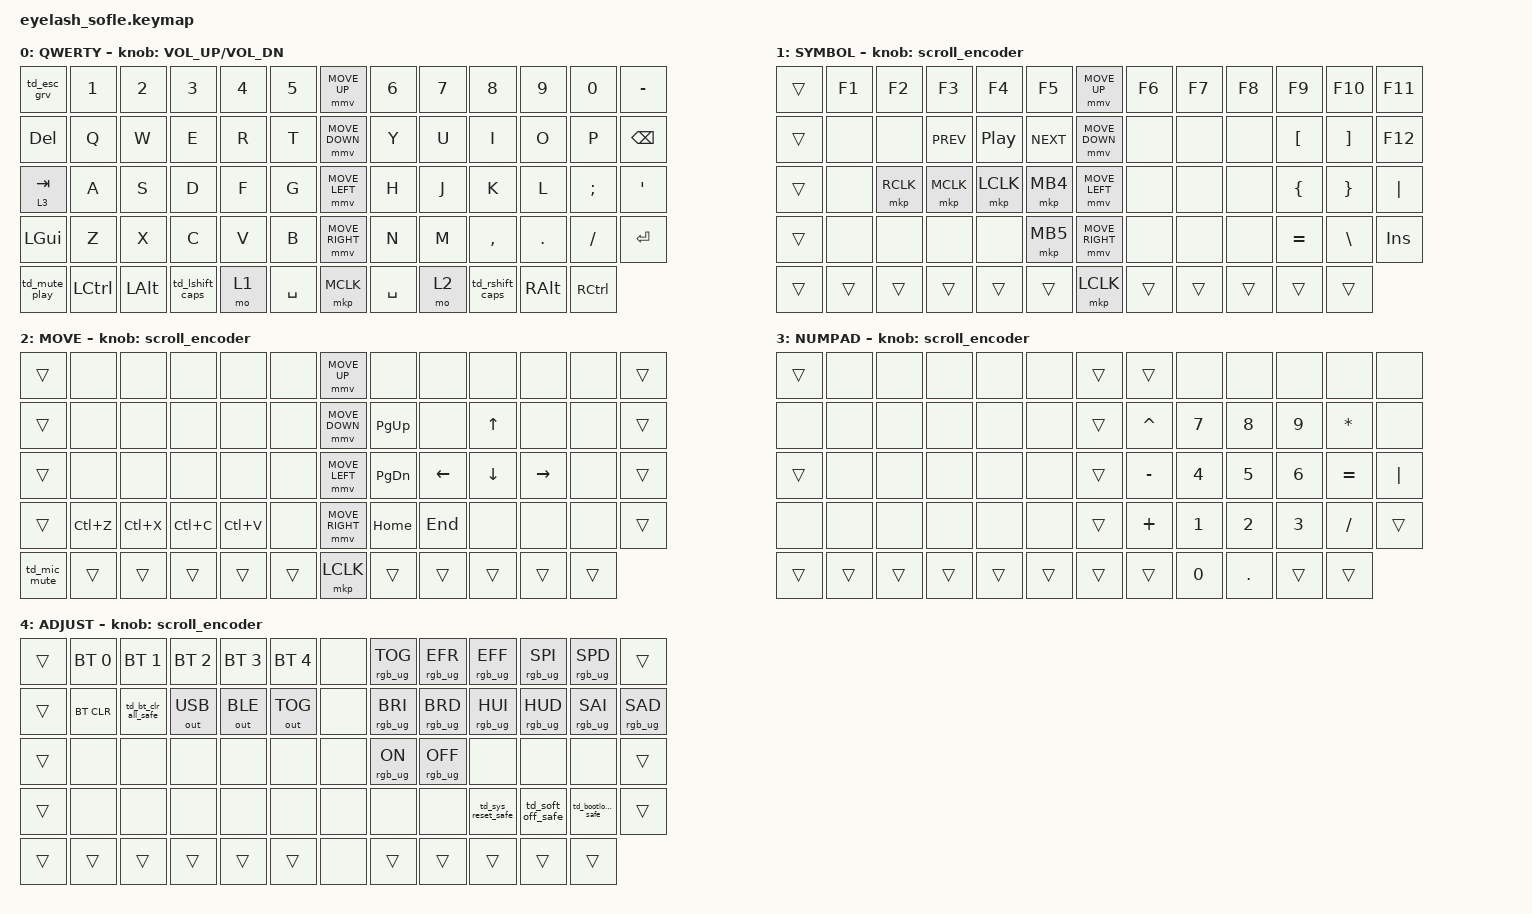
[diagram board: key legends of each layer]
/*
 * =============================================================================
 * ZMK KEYMAP — Ported from QMK Sofle Layout
 * =============================================================================
 *
 * This is a port of the QMK Sofle keymap (qmk.keymap.c) to ZMK for the
 * Eyelash Sofle board (with dongle support).
 *
 * KEY DIFFERENCES BETWEEN YOUR QMK SOFLE AND THIS EYELASH SOFLE:
 * ---------------------------------------------------------------
 * 1. LAYOUT SIZE:
 *    - QMK Sofle:     6L + 6R per row (rows 0-2), 7+7 row 3 (encoders), 5+5 row 4
 *    - Eyelash Sofle: 6L + 1 MIDDLE + 6R per row (rows 0-3), 6+1+5 row 4
 *    The "middle" column is a 5-way joystick/trackball on the right half PCB.
 *
 * 2. ENCODERS:
 *    - QMK: 2 encoders (left=MUTE click, right=HOME click)
 *    - Eyelash: 1 left encoder (click = row 4, col 0) + joystick in middle
 *
 * 3. SYNTAX:
 *    - QMK uses C macros:  KC_A, MO(1), LT(3, KC_TAB), TD(TD_ESC_GRV)
 *    - ZMK uses devicetree: &kp A, &mo 1, &lt 3 TAB, &td_esc_grv
 *
 * 4. TAP DANCE:
 *    - QMK: Defined with tap_dance_actions[] and ACTION_TAP_DANCE_DOUBLE()
 *    - ZMK: Defined as "zmk,behavior-tap-dance" nodes in the behaviors {} block
 *
 * 5. LAYER TAP:
 *    - QMK: LT(_NUMPAD, KC_TAB) — custom #define
 *    - ZMK: &lt 3 TAB — built-in behavior, no #define needed
 *
 * 6. RGB/BACKLIGHT:
 *    - QMK: UG_TOGG, LM_TOGG, etc.
 *    - ZMK: &rgb_ug RGB_TOG for underglow. Backlight not always available.
 *
 * LAYER MAP:
 *   Layer 0 = QWERTY (base)
 *   Layer 1 = SYMBOL (held via left thumb "mo 1")
 *   Layer 2 = MOVE   (held via right thumb "mo 2")
 *   Layer 3 = NUMPAD (held via TAB key "lt 3 TAB")
 *   Layer 4 = ADJUST (auto-enabled while SYMBOL + MOVE are both held)
 * =============================================================================
 */

/* ── Pointing device speed tuning ─────────────────────────────────────────────
 * These set how fast the trackball/joystick moves the mouse cursor and scrolls.
 * Increase values = faster. Decrease = more precise.
 * In QMK, you'd set these in config.h as POINTING_DEVICE_* defines.
 */
#define ZMK_POINTING_DEFAULT_MOVE_VAL 1200  // Default: 600. Mouse cursor speed.
#define ZMK_POINTING_DEFAULT_SCRL_VAL 35    // Default: 10. Scroll wheel speed.

/* ── Includes ─────────────────────────────────────────────────────────────────
 * QMK: #include QMK_KEYBOARD_H  (one include that pulls in everything)
 * ZMK: You include individual modules you need. Each header enables specific
 *       features (bluetooth, keys, RGB, etc.)
 */
#include <input/processors.dtsi>                          // Input processing (scaling mouse/scroll)
#include <zephyr/dt-bindings/input/input-event-codes.h>   // Low-level input event codes
#include <behaviors.dtsi>                                  // Core behaviors: &kp, &mo, &lt, &none, &trans, etc.
#include <dt-bindings/zmk/bt.h>                            // Bluetooth: &bt BT_SEL, BT_CLR, etc.
#include <dt-bindings/zmk/keys.h>                          // All keycodes: A-Z, N0-N9, F1-F12, modifiers, etc.
#include <dt-bindings/zmk/outputs.h>                       // Output selection: &out OUT_USB, OUT_BLE
#include <dt-bindings/zmk/pointing.h>                      // Pointing device: &mmv (mouse move), &mkp (mouse click), &msc (scroll)
#include <dt-bindings/zmk/rgb.h>                           // RGB underglow: &rgb_ug RGB_TOG, RGB_EFF, etc.

/* ═════════════════════════════════════════════════════════════════════════════
 * DEVICETREE HARDWARE CONFIGURATION
 * ═════════════════════════════════════════════════════════════════════════════
 * Everything below the "/" is a "devicetree" node. This is Zephyr (the RTOS
 * ZMK is built on) way of describing hardware. There's NO equivalent in QMK.
 * Think of it as a structured config.h + hardware description combined.
 */

/ {
    /* ── Scroll Scaler ────────────────────────────────────────────────────────
     * Scales the scroll wheel input. The "2 1" in the listener means 2x scale.
     * This makes scrolling faster/more responsive.
     */
    zip_scroll_scaler: zip_scroll_scaler {
        compatible = "zmk,input-processor-scaler";
        #input-processor-cells = <2>;
        type = <INPUT_EV_REL>;
        codes = <INPUT_REL_WHEEL INPUT_REL_HWHEEL>;
        track-remainders;
    };
};

/* ── Input Listener Overrides ─────────────────────────────────────────────────
 * These hook into the pointing device hardware and apply scaling.
 * &mmv_input_listener = mouse movement listener (trackball/joystick XY)
 * &msc_input_listener = scroll listener (scroll wheel events)
 */
&mmv_input_listener { input-processors = <&zip_xy_scaler 2 1>; };
&msc_input_listener { input-processors = <&zip_scroll_scaler 2 1>; };

/* ── Mouse Scroll Tuning ──────────────────────────────────────────────────────
 * acceleration-exponent = 0 means linear (no acceleration curve)
 * time-to-max-speed-ms = 0 means instant max speed
 * In QMK: MOUSEKEY_WHEEL_MAX_SPEED, MOUSEKEY_WHEEL_TIME_TO_MAX
 */
&msc {
    acceleration-exponent = <0>;
    time-to-max-speed-ms = <0>;
    delay-ms = <0>;
};

/* ── Mouse Move Tuning ────────────────────────────────────────────────────────
 * time-to-max-speed-ms = 400 means cursor ramps up to full speed over 400ms
 * acceleration-exponent = 1 means linear acceleration
 * In QMK: MOUSEKEY_MAX_SPEED, MOUSEKEY_TIME_TO_MAX
 */
&mmv {
    time-to-max-speed-ms = <400>;
    acceleration-exponent = <1>;
};

/* ── Hold-Tap / Layer-Tap Tuning ─────────────────────────────────────────────
 * Slightly tap-biased timing to reduce accidental NUMPAD layer activation
 * during fast typing on &lt 3 TAB.
 */
&lt {
    tapping-term-ms = <180>;
    quick-tap-ms = <140>;
    flavor = "tap-preferred";
};

/* ═════════════════════════════════════════════════════════════════════════════
 * BEHAVIORS, MACROS, AND KEYMAP
 * ═════════════════════════════════════════════════════════════════════════════
 */
/ {
    /* ── Scroll Encoder Behavior ──────────────────────────────────────────────
     * In QMK, encoder behavior is set in encoder_map[][] or encoder_update_user().
     * In ZMK, you define a "sensor-rotate" behavior and bind it per-layer.
     *
     * This one scrolls up/down when the encoder is rotated.
     * Layer 0 uses volume (inc_dec_kp), other layers use this scroll behavior.
     */
    scroll_encoder: scroll_encoder {
        compatible = "zmk,behavior-sensor-rotate";
        #sensor-binding-cells = <0>;
        bindings = <&msc SCRL_DOWN>, <&msc SCRL_UP>;
        tap-ms = <30>;
    };

    /* ── Macros ───────────────────────────────────────────────────────────────
     * ZMK macros use a press/release/pause model.
     * QMK equivalent: process_record_user() or MACRO() definitions.
     *
     * This macro holds Shift + Middle Mouse Button (for some apps like browsers).
     */
    macros {
        shift_MB3: shift_MB3 {
            compatible = "zmk,behavior-macro";
            #binding-cells = <0>;
            bindings =
                <&macro_press>,
                <&kp LEFT_SHIFT>,
                <&macro_press>,
                <&mkp MB3>,
                <&macro_pause_for_release>,   // Waits until the key is released
                <&macro_release>,
                <&mkp MB3 &kp LEFT_SHIFT>;
            label = "SHIFT_MB3";
        };
    };

    /* ══════════════════════════════════════════════════════════════════════════
     * TAP DANCE BEHAVIORS
     * ══════════════════════════════════════════════════════════════════════════
     * QMK: tap_dance_actions[] with ACTION_TAP_DANCE_DOUBLE()
     * ZMK: Individual "zmk,behavior-tap-dance" nodes.
     *
     * How tap-dance works:
     *   - Tap once  → first binding fires
     *   - Tap twice → second binding fires
     *   - tapping-term-ms = time window to register double-tap (like QMK's TAPPING_TERM)
     *
     * IMPORTANT: In ZMK, tap-dance behaviors are referenced by their node name
     * (e.g., &td_esc_grv), NOT by an enum index like QMK's TD(TD_ESC_GRV).
     */
    behaviors {
        /* Tap = ESC, Double-tap = ` (grave/backtick)
         * QMK equivalent: TD_ESC_GRV = ACTION_TAP_DANCE_DOUBLE(KC_ESC, KC_GRV)
         */
        td_esc_grv: td_esc_grv {
            compatible = "zmk,behavior-tap-dance";
            #binding-cells = <0>;
            tapping-term-ms = <200>;
            bindings = <&kp ESC>, <&kp GRAVE>;
        };

        /* Tap = Left Shift, Double-tap = Caps Lock
         * QMK equivalent: TD_LSHIFT_CAPS = ACTION_TAP_DANCE_DOUBLE(KC_LSFT, KC_CAPS)
         */
        td_lshift_caps: td_lshift_caps {
            compatible = "zmk,behavior-tap-dance";
            #binding-cells = <0>;
            tapping-term-ms = <200>;
            bindings = <&kp LSHFT>, <&kp CAPS>;
        };

        /* Tap = Right Shift, Double-tap = Caps Lock
         * QMK equivalent: TD_RSHIFT_CAPS = ACTION_TAP_DANCE_DOUBLE(KC_RSFT, KC_CAPS)
         */
        td_rshift_caps: td_rshift_caps {
            compatible = "zmk,behavior-tap-dance";
            #binding-cells = <0>;
            tapping-term-ms = <200>;
            bindings = <&kp RSHFT>, <&kp CAPS>;
        };

        /* Tap = Mute, Double-tap = Play/Pause
         * QMK equivalent: TD_MUTE_PLAY = ACTION_TAP_DANCE_DOUBLE(KC_MUTE, KC_MPLY)
         * Used on the encoder button press.
         */
        td_mute_play: td_mute_play {
            compatible = "zmk,behavior-tap-dance";
            #binding-cells = <0>;
            tapping-term-ms = <200>;
            bindings = <&kp C_MUTE>, <&kp C_PP>;
        };

        td_mic_mute: td_mic_mute {
            compatible = "zmk,behavior-tap-dance";
            #binding-cells = <0>;
            tapping-term-ms = <200>;
            bindings = <&kp LG(LA(K))>, <&kp LG(LA(K))>;
        };

        td_sys_reset_safe: td_sys_reset_safe {
            compatible = "zmk,behavior-tap-dance";
            #binding-cells = <0>;
            tapping-term-ms = <220>;
            bindings = <&none>, <&sys_reset>;
        };

        td_soft_off_safe: td_soft_off_safe {
            compatible = "zmk,behavior-tap-dance";
            #binding-cells = <0>;
            tapping-term-ms = <220>;
            bindings = <&none>, <&soft_off>;
        };

        td_bootloader_safe: td_bootloader_safe {
            compatible = "zmk,behavior-tap-dance";
            #binding-cells = <0>;
            tapping-term-ms = <220>;
            bindings = <&none>, <&bootloader>;
        };

        td_bt_clr_all_safe: td_bt_clr_all_safe {
            compatible = "zmk,behavior-tap-dance";
            #binding-cells = <0>;
            tapping-term-ms = <220>;
            bindings = <&none>, <&bt BT_CLR_ALL>;
        };
    };

    conditional_layers {
        compatible = "zmk,conditional-layers";

        adjust_layer {
            if-layers = <1 2>;
            then-layer = <4>;
        };
    };

    /* ══════════════════════════════════════════════════════════════════════════
     * KEYMAP
     * ══════════════════════════════════════════════════════════════════════════
     * QMK:  const uint16_t PROGMEM keymaps[][MATRIX_ROWS][MATRIX_COLS] = { ... };
     * ZMK:  keymap { compatible = "zmk,keymap"; layer_name { bindings = <...>; }; };
     *
     * PHYSICAL LAYOUT OF THE EYELASH SOFLE (per row):
     * ┌───────────── Left Half (6 keys) ──────────────┐ ┌Mid┐ ┌────────── Right Half (6 keys) ──────────┐
     * │ Col0 │ Col1 │ Col2 │ Col3 │ Col4 │ Col5 │     │Col7│  │ Col8 │ Col9 │Col10│Col11│Col12│Col13│
     *
     * Row 4 (thumb row) has 6 left + 1 middle + 5 right = 12 keys total.
     * The middle column (Col7) is the joystick/trackball 5-way switch.
     *
     * READING THE BINDINGS:
     *   &kp A        = "key press" behavior, sends 'A'
     *   &mo 1        = "momentary layer" — activates layer 1 while held
     *   &lt 3 TAB    = "layer-tap" — hold = layer 3, tap = TAB
     *   &td_esc_grv  = custom tap-dance (defined above)
     *   &trans       = transparent — falls through to lower layer (like QMK's _______)
     *   &none        = no action (like QMK's XXXXXXX)
     *   &rgb_ug CMD  = RGB underglow command
     *   &bt CMD      = Bluetooth command
     *   &mmv DIR     = mouse move direction
     *   &mkp BTN     = mouse button press
     */
    keymap {
        compatible = "zmk,keymap";

        /* ══════════════════════════════════════════════════════════════════════
         * LAYER 0 — QWERTY (Base Layer)
         * ══════════════════════════════════════════════════════════════════════
         *
         * ┌────────┬──────┬──────┬──────┬──────┬──────┐          ┌──────┬──────┬──────┬──────┬──────┬──────┐
         * │ESC/GRV │  1   │  2   │  3   │  4   │  5   │  [JOY↑] │  6   │  7   │  8   │  9   │  0   │  -   │
         * ├────────┼──────┼──────┼──────┼──────┼──────┤          ├──────┼──────┼──────┼──────┼──────┼──────┤
         * │  DEL   │  Q   │  W   │  E   │  R   │  T   │  [JOY↓] │  Y   │  U   │  I   │  O   │  P   │ BSPC │
         * ├────────┼──────┼──────┼──────┼──────┼──────┤          ├──────┼──────┼──────┼──────┼──────┼──────┤
         * │TAB/NUM │  A   │  S   │  D   │  F   │  G   │  [JOY←] │  H   │  J   │  K   │  L   │  ;   │  '   │
         * ├────────┼──────┼──────┼──────┼──────┼──────┤          ├──────┼──────┼──────┼──────┼──────┼──────┤
         * │ LGUI   │  Z   │  X   │  C   │  V   │  B   │  [JOY→] │  N   │  M   │  ,   │  .   │  /   │ENTER │
         * └────────┴──────┼──────┼──────┼──────┼──────┤          ├──────┼──────┼──────┼──────┼──────┘
         *  [MUTE/PLAY]    │ LCTL │ LALT │LSH/CP│SYMBOL│ SPACE    │HOME  │SPACE │ MOVE │RSH/CP│ RALT │ RCTL │
         *                 └──────┴──────┴──────┴──────┘          └──────┴──────┴──────┴──────┴──────┘
         *
         * QMK → ZMK key mapping for this layer:
         *   KC_ESC_GRV      → &td_esc_grv         (tap-dance: tap=ESC, 2x=`)
         *   KC_TAB_NUM      → &lt 3 TAB           (layer-tap: hold=NUMPAD, tap=TAB)
         *   KC_LSHIFT_CAPS  → &td_lshift_caps     (tap-dance: tap=LSHIFT, 2x=CAPS)
         *   KC_RSHIFT_CAPS  → &td_rshift_caps     (tap-dance: tap=RSHIFT, 2x=CAPS)
         *   KC_MUTE_PLAY    → &td_mute_play       (tap-dance: tap=MUTE, 2x=PLAY)
         *   KC_SYMBO/MO()   → &mo 1               (momentary layer 1)
         *   KC_MOVE/MO()    → &mo 2               (momentary layer 2)
         *   KC_MINS         → &kp MINUS            (ZMK uses full names, not KC_ prefix)
         *   KC_BSPC         → &kp BSPC             (backspace)
         *   KC_SCLN         → &kp SEMI             (semicolon)
         *   KC_QUOT         → &kp SQT              (single quote / apostrophe)
         *   KC_COMM         → &kp COMMA            (comma)
         *   KC_SLSH         → &kp FSLH             (forward slash)
         *
         * MIDDLE COLUMN: The joystick/trackball 5-way switch. On Layer 0 it is
         * mapped to mouse movement (&mmv) in all four directions, and center click
         * is mouse middle-click for browser-style pan/360 navigation.
         *
         * ENCODER: Rotate = Volume Up/Down. Click = MUTE (or double-click = PLAY).
         */
        layer_qwerty {
            display-name = "QWERTY";
            bindings = <
// ┌─ Left Half (6 keys) ─────────────────────────────────────────────────┐ ┌───Mid───┐ ┌─ Right Half (6 keys) ──────────────────────────────────────────────────┐
    &td_esc_grv    &kp N1     &kp N2    &kp N3           &kp N4  &kp N5      &mmv MOVE_UP      &kp N6     &kp N7  &kp N8           &kp N9    &kp N0     &kp MINUS
    &kp DEL        &kp Q      &kp W     &kp E            &kp R   &kp T       &mmv MOVE_DOWN    &kp Y      &kp U   &kp I            &kp O     &kp P      &kp BSPC
    &lt 3 TAB      &kp A      &kp S     &kp D            &kp F   &kp G       &mmv MOVE_LEFT    &kp H      &kp J   &kp K            &kp L     &kp SEMI   &kp SQT
    &kp LGUI       &kp Z      &kp X     &kp C            &kp V   &kp B       &mmv MOVE_RIGHT   &kp N      &kp M   &kp COMMA        &kp DOT   &kp FSLH   &kp ENTER
    &td_mute_play  &kp LCTRL  &kp LALT  &td_lshift_caps  &mo 1   &kp SPACE   &mkp MCLK         &kp SPACE  &mo 2   &td_rshift_caps  &kp RALT  &kp RCTRL
            >;

            /* ENCODER BINDING (Layer 0):
             * Rotate clockwise = Volume Up
             * Rotate counter-clockwise = Volume Down
             * QMK equivalent: encoder_update_user() with KC_VOLU/KC_VOLD
             */
            sensor-bindings = <&inc_dec_kp C_VOLUME_UP C_VOL_DN>;
        };

        /* ══════════════════════════════════════════════════════════════════════
         * LAYER 1 — SYMBOL
         * ══════════════════════════════════════════════════════════════════════
         * Activated by holding the left thumb key (SYMBOL / mo 1).
         * NOTE: RGB/BT/system settings were moved to Layer 4 (ADJUST).
         * This layer is now focused on symbols, media, and mouse actions.
         *
         * ┌────────┬──────┬──────┬──────┬──────┬──────┐          ┌──────┬──────┬──────┬──────┬──────┬──────┐
         * │  ___   │  F1  │  F2  │  F3  │  F4  │  F5  │ [mouse↑]│  F6  │  F7  │  F8  │  F9  │ F10  │ F11  │
         * ├────────┼──────┼──────┼──────┼──────┼──────┤          ├──────┼──────┼──────┼──────┼──────┼──────┤
         * │  ___   │  `   │ LClk │ MClk │ RClk │ MB4  │ [mouse↓]│ PREV │      │      │  [   │  ]   │ F12  │
         * ├────────┼──────┼──────┼──────┼──────┼──────┤          ├──────┼──────┼──────┼──────┼──────┼──────┤
         * │  ___   │  ~   │      │      │      │ MB5  │ [mouse←]│ PLAY │      │      │  {   │  }   │  |   │
         * ├────────┼──────┼──────┼──────┼──────┼──────┤          ├──────┼──────┼──────┼──────┼──────┼──────┤
         * │  ___   │RGBOFF│RGBON │RGBEFF│RGBEFR│RGBSPI│ [mouse→]│ NEXT │RGBBRI│RGBBRD│  =   │  \   │ INS  │
         * └────────┴──────┼──────┼──────┼──────┼──────┤          ├──────┼──────┼──────┼──────┼──────┘
         *    [___]        │ ___  │ ___  │ ___  │(held)│  ___     │click │ ___  │ ___  │ ___  │ ___  │ ___  │
         *                 └──────┴──────┴──────┴──────┘          └──────┴──────┴──────┴──────┴──────┘
         *
         * QMK → ZMK key mapping for this layer:
         *   KC_MPRV → &kp C_PREV    (media previous — consumer keycode, hence C_ prefix)
         *   KC_MPLY → &kp C_PP      (media play/pause)
         *   KC_MNXT → &kp C_NEXT    (media next)
         *   KC_LBRC → &kp LBKT      (QMK's LBRC = '[', ZMK's LBKT = '[')  ← NAMING GOTCHA!
         *   KC_RBRC → &kp RBKT      (QMK's RBRC = ']', ZMK's RBKT = ']')  ← NAMING GOTCHA!
         *   KC_LCBR → &kp LBRC      (QMK's LCBR = '{', ZMK's LBRC = '{')  ← NAMING GOTCHA!
         *   KC_RCBR → &kp RBRC      (QMK's RCBR = '}', ZMK's RBRC = '}')  ← NAMING GOTCHA!
         *   KC_PIPE → &kp PIPE      (pipe character, internally LS(BSLH))
         *   KC_BSLS → &kp BSLH      (backslash)
         *   KC_EQL  → &kp EQUAL     (equals sign)
         *   KC_INS  → &kp INS       (insert key)
         *
         * NEW ZMK-ONLY FEATURES ON THIS LAYER (not in QMK):
         *   Mouse buttons on left side — your Eyelash Sofle has a joystick/trackball.
         *   &mkp LCLK/MCLK/RCLK/MB4/MB5 = mouse left/middle/right/back/forward click
         *   These give you full mouse control when combined with joystick movement.
         *
         *   RGB controls on row 3 — full underglow management:
         *   &rgb_ug RGB_OFF/ON  = force RGB off/on
         *   &rgb_ug RGB_EFF/EFR = next/previous effect
         *   &rgb_ug RGB_SPI     = speed up animation
         *   &rgb_ug RGB_BRI/BRD = increase/decrease brightness
         *
         * NOTE ON BRACKET NAMING:
         *   QMK:  LBRC = [  RBRC = ]  LCBR = {  RCBR = }
         *   ZMK:  LBKT = [  RBKT = ]  LBRC = {  RBRC = }
         *   This is a common source of confusion when porting! ZMK uses "bracket"
         *   for [ ] and "brace" for { }.
         *
         * MIDDLE COLUMN: Mouse move directions — the joystick moves the cursor
         * when this layer is active. Bottom = mouse left click.
         */
        layer_symbol {
            display-name = "SYMBOL";
            bindings = <
// ┌─ Left Half (6 keys) ─────────────────────────────────────────────────────────────────────┐ ┌─────Mid───────┐ ┌─ Right Half (6 keys) ──────────────────────────────────────────────────┐
    &trans  &kp F1           &kp F2          &kp F3           &kp F4           &kp F5            &mmv MOVE_UP      &kp F6      &kp F7           &kp F8           &kp F9     &kp F10   &kp F11
    &trans  &none            &none           &kp C_PREV       &kp C_PP         &kp C_NEXT        &mmv MOVE_DOWN    &none       &none            &none            &kp LBKT   &kp RBKT  &kp F12
    &trans  &none            &mkp RCLK       &mkp MCLK        &mkp LCLK        &mkp MB4          &mmv MOVE_LEFT    &none       &none            &none            &kp LBRC   &kp RBRC  &kp PIPE
    &trans  &none            &none           &none            &none            &mkp MB5          &mmv MOVE_RIGHT   &none       &none            &none            &kp EQUAL  &kp BSLH  &kp INS
    &trans  &trans           &trans          &trans           &trans           &trans            &mkp LCLK         &trans      &trans           &trans           &trans     &trans
            >;

            /* ENCODER BINDING (Layer 1):
             * Rotate = Scroll up/down (useful for browsing code or documents)
             * This overrides the volume control from Layer 0.
             */
            sensor-bindings = <&scroll_encoder>;
        };

        /* ══════════════════════════════════════════════════════════════════════
         * LAYER 2 — MOVE (Navigation + Editing + Pointer)
         * ══════════════════════════════════════════════════════════════════════
         * Activated by holding the right thumb key (MOVE / mo 2).
         * NOTE: BT/RGB/system controls now live on Layer 4 (ADJUST).
         *
         * ┌────────┬──────┬──────┬──────┬──────┬──────┐          ┌──────┬──────┬──────┬──────┬──────┬──────┐
         * │  ___   │ BT 0 │ BT 1 │ BT 2 │ BT 3 │ BT 4 │ [mouse↑]│RGBTOG│RGBPV │RGBNX │RGBSPU│RGBSPD│ ___  │
         * ├────────┼──────┼──────┼──────┼──────┼──────┤          ├──────┼──────┼──────┼──────┼──────┼──────┤
         * │  ___   │BTCLR │BTALL │ USB  │ BLE  │      │ [mouse↓]│ PgUp │      │  ↑   │      │      │ ___  │
         * ├────────┼──────┼──────┼──────┼──────┼──────┤          ├──────┼──────┼──────┼──────┼──────┼──────┤
         * │  ___   │      │      │      │RGBBD │RGBBI │ [mouse←]│ PgDn │  ←   │  ↓   │  →   │      │ ___  │
         * ├────────┼──────┼──────┼──────┼──────┼──────┤          ├──────┼──────┼──────┼──────┼──────┼──────┤
         * │  ___   │ Undo │ Cut  │ Copy │Paste │      │ [mouse→]│ Home │ End  │RESET │S.OFF │BOOTLD│ ___  │
         * └────────┴──────┼──────┼──────┼──────┼──────┤          ├──────┼──────┼──────┼──────┼──────┘
         *    [___]        │ ___  │ ___  │ ___  │ ___  │  ___     │click │ ___  │(held)│ ___  │ ___  │ ___  │
         *                 └──────┴──────┴──────┴──────┘          └──────┴──────┴──────┴──────┴──────┘
         *
         * QMK → ZMK key mapping for this layer:
         * QMK PORTED FEATURES:
         *   UG_TOGG → &rgb_ug RGB_TOG     (toggle RGB underglow on/off)
         *   UG_PREV → &rgb_ug RGB_EFR     (previous RGB effect)
         *   UG_NEXT → &rgb_ug RGB_EFF     (next RGB effect)
         *   LM_BRID → &rgb_ug RGB_BRD     (decrease brightness)
         *   LM_BRIU → &rgb_ug RGB_BRI     (increase brightness)
         *   KC_UNDO → &kp LC(Z)    (Ctrl+Z — for Windows/Linux)
         *   KC_CUT  → &kp LC(X)    (Ctrl+X — for Windows/Linux)
         *   KC_COPY → &kp LC(C)    (Ctrl+C — for Windows/Linux)
         *   KC_PASTE→ &kp LC(V)    (Ctrl+V — for Windows/Linux)
         *   KC_PGUP → &kp PG_UP    (Page Up)
         *   KC_PGDN → &kp PG_DN    (Page Down)
         *   KC_LEFT/DOWN/UP/RGHT → &kp LEFT / DOWN / UP / RIGHT
         *
         *   NOTE FOR macOS: Replace LC() with LG() for Cmd instead of Ctrl:
         *     &kp LG(Z) for Undo, &kp LG(X) for Cut, etc.
         *
         * NEW ZMK-ONLY FEATURES (not available in QMK):
         *
         *   BLUETOOTH (row 0 left side):
         *   &bt BT_SEL 0-4  = Select Bluetooth profile 0 through 4
         *                     You can pair up to 5 different devices and switch between them!
         *                     Profile 0 = key "1" position, Profile 4 = key "5" position.
         *   &bt BT_CLR      = Clear current BT profile pairing (unpairs the device)
         *   &bt BT_CLR_ALL  = Clear ALL BT pairings (nuclear option — unpairs everything)
         *
         *   OUTPUT SWITCHING (row 1 left side):
         *   &out OUT_USB    = Force output over USB cable (wired mode)
         *   &out OUT_BLE    = Force output over Bluetooth (wireless mode)
         *                     Useful when you have both USB and BT connected.
         *
         *   SYSTEM CONTROLS (row 3 right side):
         *   &sys_reset      = Reset the MCU (like unplugging and re-plugging)
         *   &soft_off        = Ultra-low-power off. Requires physical button to wake.
         *   &bootloader     = Enter bootloader mode for flashing new firmware.
         *                     ⚠️ Put these on hard-to-reach combos to avoid accidents!
         *
         *   RGB CONTROLS (row 0 right side):
         *   &rgb_ug RGB_TOG = Toggle underglow on/off
         *   &rgb_ug RGB_EFR/EFF = Previous/Next effect
         *   &rgb_ug RGB_SPI/SPD = Speed up/slow down animation
         */
        layer_move {
            display-name = "MOVE";
            bindings = <
// ┌─ Left Half (6 keys) ───────────────────────────────────────────────────────────────┐ ┌─────Mid──────┐ ┌─ Right Half (6 keys) ──────────────────────────────────────────────────────────────────────┐
    &trans  &none         &none           &none         &none            &none             &mmv MOVE_UP      &none            &none            &none            &none            &none            &trans
    &trans  &none         &none           &none         &none            &none             &mmv MOVE_DOWN    &kp PG_UP        &none            &kp UP           &none            &none            &trans
    &trans  &none         &none           &none         &none            &none             &mmv MOVE_LEFT    &kp PG_DN        &kp LEFT         &kp DOWN         &kp RIGHT        &none            &trans
    &trans  &kp LC(Z)     &kp LC(X)       &kp LC(C)     &kp LC(V)        &none             &mmv MOVE_RIGHT   &kp HOME         &kp END          &none            &none            &none            &trans
    &td_mic_mute  &trans  &trans          &trans        &trans           &trans            &mkp LCLK         &trans           &trans           &trans           &trans           &trans
            >;

            sensor-bindings = <&scroll_encoder>;
        };

        /* ══════════════════════════════════════════════════════════════════════
         * LAYER 3 — NUMPAD
         * ══════════════════════════════════════════════════════════════════════
         * Activated by HOLDING the TAB key (lt 3 TAB on Layer 0).
         * Tap TAB = normal Tab. Hold TAB = activates this numpad layer.
         *
         * ┌────────┬──────┬──────┬──────┬──────┬──────┐          ┌──────┬──────┬──────┬──────┬──────┬──────┐
         * │  ___   │      │      │      │      │      │  [___]  │ ___  │NumLk │      │      │      │      │
         * ├────────┼──────┼──────┼──────┼──────┼──────┤          ├──────┼──────┼──────┼──────┼──────┼──────┤
         * │        │      │      │      │      │      │  [___]  │  ^   │  7   │  8   │  9   │  *   │      │
         * ├────────┼──────┼──────┼──────┼──────┼──────┤          ├──────┼──────┼──────┼──────┼──────┼──────┤
         * │ (held) │      │      │      │      │      │  [___]  │  -   │  4   │  5   │  6   │  =   │  |   │
         * ├────────┼──────┼──────┼──────┼──────┼──────┤          ├──────┼──────┼──────┼──────┼──────┼──────┤
         * │        │      │      │      │      │      │  [___]  │  +   │  1   │  2   │  3   │  /   │ ___  │
         * └────────┴──────┼──────┼──────┼──────┼──────┤          ├──────┼──────┼──────┼──────┼──────┘
         *    [___]        │ ___  │ ___  │ ___  │ ___  │  ___     │ ___  │ ___  │  0   │  .   │ ___  │ ___  │
         *                 └──────┴──────┴──────┴──────┘          └──────┴──────┴──────┴──────┴──────┘
         *
         * QMK → ZMK key mapping for this layer:
         *   KC_NUM  → &kp KP_NUM          (NumLock toggle)
         *   KC_CIRC → &kp CARET           (^ character, internally LS(N6))
         *   KC_P0   → &kp KP_N0           (numpad 0 — NOTE: ZMK uses KP_N0, not KP_0)
         *   KC_P1   → &kp KP_N1           (numpad 1)
         *   ...
         *   KC_P9   → &kp KP_N9           (numpad 9)
         *   KC_PDOT → &kp KP_DOT          (numpad decimal point)
         *   KC_ASTR → &kp KP_MULTIPLY     (numpad multiply)
         *   KC_PLUS → &kp KP_PLUS         (numpad plus)
         *   KC_MINS → &kp KP_MINUS        (numpad minus)
         *   KC_EQL  → &kp KP_EQUAL        (numpad equals)
         *   KC_PIPE → &kp PIPE            (pipe — LS(BSLH))
         *   KC_SLSH → &kp KP_DIVIDE       (numpad divide)
         */
        layer_numpad {
            display-name = "NUMPAD";
            bindings = <
// ┌─ Left Half (6 keys) ────────────────────────┐ ┌───Mid───┐ ┌─ Right Half (6 keys) ──────────────────────────────────────────────────┐
    &trans  &none   &none   &none   &none   &none    &trans     &trans        &none        &none       &none       &none       &none
    &none   &none   &none   &none   &none   &none    &trans     &kp CARET     &kp N7       &kp N8      &kp N9      &kp STAR    &none
    &trans  &none   &none   &none   &none   &none    &trans     &kp MINUS     &kp N4       &kp N5      &kp N6      &kp EQUAL   &kp PIPE
    &none   &none   &none   &none   &none   &none    &trans     &kp PLUS      &kp N1       &kp N2      &kp N3      &kp FSLH    &trans
    &trans  &trans  &trans  &trans  &trans  &trans   &trans     &trans        &kp N0       &kp DOT     &trans      &trans
            >;

            sensor-bindings = <&scroll_encoder>;
        };

        layer_adjust {
            display-name = "ADJUST";
            bindings = <
// ┌─ Left Half (6 keys) ──────────────────────────────────────────────────────────────────┐ ┌───Mid───┐ ┌─ Right Half (6 keys) ──────────────────────────────────────────────────┐
    &trans  &bt BT_SEL 0  &bt BT_SEL 1         &bt BT_SEL 2  &bt BT_SEL 3     &bt BT_SEL 4      &none      &rgb_ug RGB_TOG  &rgb_ug RGB_EFR  &rgb_ug RGB_EFF  &rgb_ug RGB_SPI  &rgb_ug RGB_SPD  &trans
    &trans  &bt BT_CLR    &td_bt_clr_all_safe  &out OUT_USB  &out OUT_BLE     &out OUT_TOG      &none      &rgb_ug RGB_BRI  &rgb_ug RGB_BRD  &rgb_ug RGB_HUI  &rgb_ug RGB_HUD  &rgb_ug RGB_SAI  &rgb_ug RGB_SAD
    &trans  &none         &none                &none         &none            &none             &none      &rgb_ug RGB_ON   &rgb_ug RGB_OFF  &none            &none            &none            &trans
    &trans  &none         &none                &none         &none            &none             &none      &none            &none            &td_sys_reset_safe  &td_soft_off_safe  &td_bootloader_safe  &trans
    &trans  &trans        &trans               &trans        &trans           &trans            &none      &trans           &trans           &trans           &trans           &trans
            >;

            sensor-bindings = <&scroll_encoder>;
        };
    };
};
